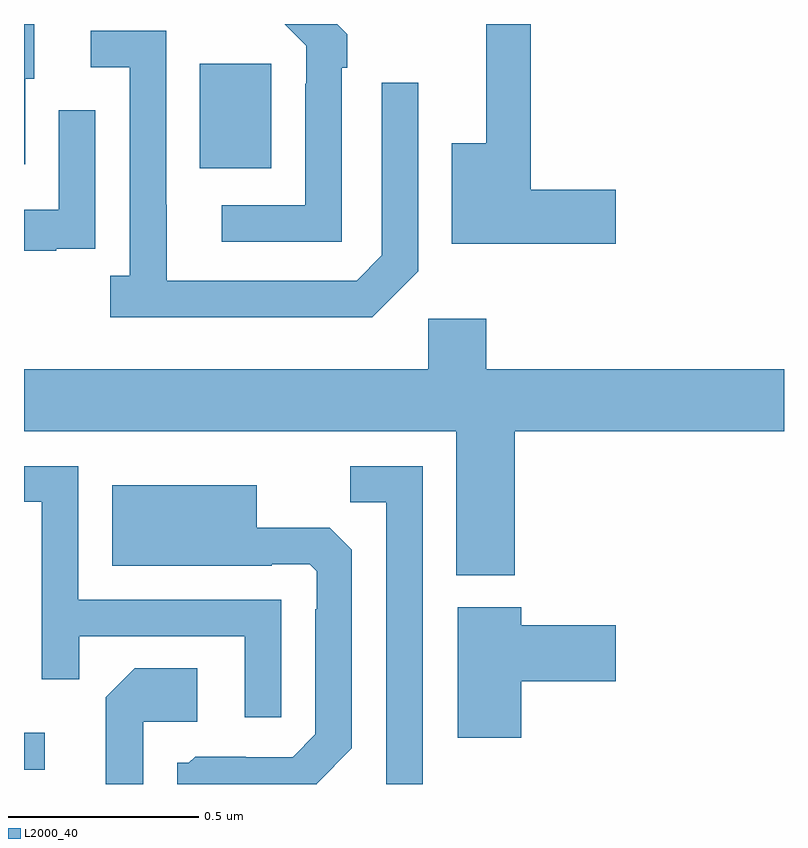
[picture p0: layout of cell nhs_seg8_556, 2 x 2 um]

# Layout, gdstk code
import gdstk
lib = gdstk.Library(unit=1e-6, precision=1e-09)
def R(c, l, rs):  # rectangles x0, y0, x1, y1
    for r in rs: c.add(gdstk.rectangle(r[:2], r[2:], *l))
def P(c, l, *ps):  # polygons
    for p in ps: c.add(gdstk.Polygon(p, *l))
L2000_40 = (2000, 40)

nhs_seg8_556 = lib.new_cell('nhs_seg8_556')
R(nhs_seg8_556, L2000_40, [(118,1120.938,118.054,1121.035), (118.463,1122.521,118.651,1122.796)])
P(nhs_seg8_556, L2000_40, [(118.003,1122.756),(118.027,1122.756),(118.027,1122.9),(118,1122.9),(118,1122.531),(118.003,1122.531)],
  [(118.836,1122.785),(118.851,1122.785),(118.851,1122.873),(118.824,1122.9),(118.686,1122.9),(118.743,1122.843),(118.743,1122.743),(118.74,1122.743),(118.74,1122.423),(118.521,1122.423),(118.521,1122.327),(118.836,1122.327)],
  [(119.557,1122.464),(119.333,1122.464),(119.333,1122.9),(119.216,1122.9),(119.216,1122.586),(119.126,1122.586),(119.126,1122.322),(119.557,1122.322)],
  [(119.037,1122.249),(119.037,1122.745),(118.941,1122.745),(118.941,1122.291),(118.875,1122.225),(118.375,1122.225),(118.375,1122.425),(118.374,1122.425),(118.374,1122.882),(118.176,1122.882),(118.176,1122.786),(118.278,1122.786),(118.278,1122.238),(118.227,1122.238),(118.227,1122.128),(118.916,1122.128)],
  [(118.085,1122.309),(118.187,1122.309),(118.187,1122.418),(118.188,1122.418),(118.188,1122.673),(118.092,1122.673),(118.092,1122.411),(118,1122.411),(118,1122.303),(118.085,1122.303)],
  [(119.291,1121.828),(120,1121.828),(120,1121.992),(119.216,1121.992),(119.216,1122.124),(119.064,1122.124),(119.064,1121.992),(118,1121.992),(118,1121.828),(119.138,1121.828),(119.138,1121.45),(119.291,1121.45)],
  [(118.677,1121.385),(118.143,1121.385),(118.143,1121.736),(118,1121.736),(118,1121.643),(118.047,1121.643),(118.047,1121.176),(118.145,1121.176),(118.145,1121.289),(118.581,1121.289),(118.581,1121.076),(118.677,1121.076)],
  [(119.049,1121.736),(118.858,1121.736),(118.858,1121.641),(118.953,1121.641),(118.953,1120.9),(119.049,1120.9)],
  [(118.771,1120.901),(118.863,1120.994),(118.863,1121.516),(118.804,1121.575),(118.612,1121.575),(118.612,1121.686),(118.232,1121.686),(118.232,1121.474),(118.652,1121.474),(118.652,1121.478),(118.752,1121.478),(118.77,1121.46),(118.77,1121.36),(118.767,1121.36),(118.767,1121.031),(118.707,1120.971),(118.584,1120.971),(118.584,1120.972),(118.45,1120.972),(118.434,1120.956),(118.403,1120.956),(118.403,1120.9),(118.77,1120.9)],
  [(119.308,1121.171),(119.557,1121.171),(119.557,1121.318),(119.308,1121.318),(119.308,1121.365),(119.141,1121.365),(119.141,1121.022),(119.308,1121.022)],
  [(118.314,1121.064),(118.456,1121.064),(118.456,1121.204),(118.291,1121.204),(118.215,1121.128),(118.215,1120.9),(118.314,1120.9)])

lib.write_gds('nhs_seg8_556.gds')
